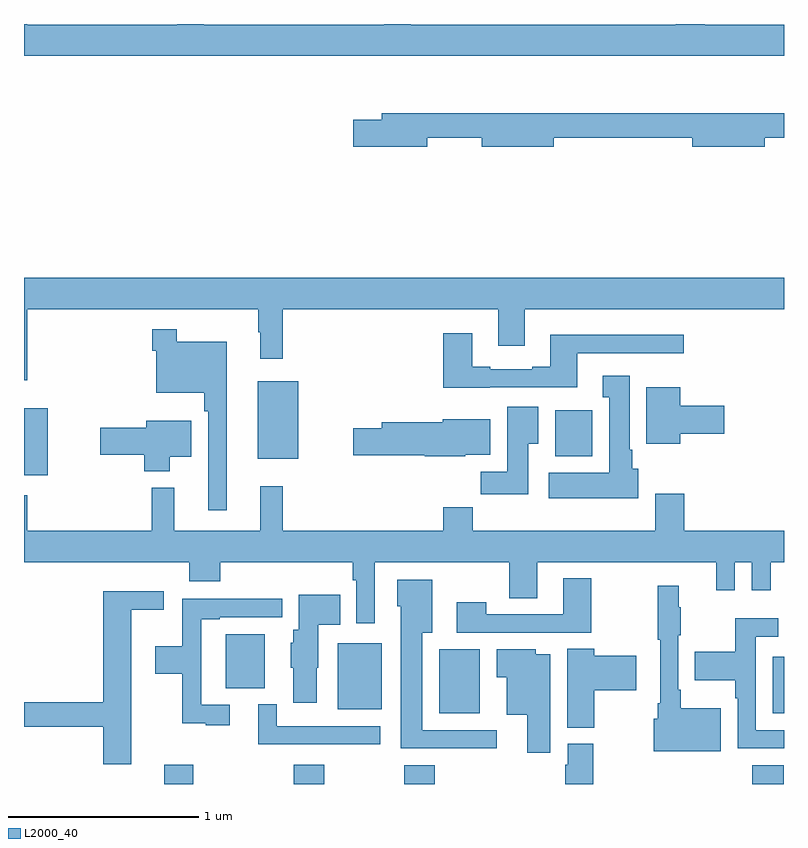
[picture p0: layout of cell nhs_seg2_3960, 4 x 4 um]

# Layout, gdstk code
import gdstk
lib = gdstk.Library(unit=1e-6, precision=1e-09)
def R(c, l, rs):  # rectangles x0, y0, x1, y1
    for r in rs: c.add(gdstk.rectangle(r[:2], r[2:], *l))
def P(c, l, *ps):  # polygons
    for p in ps: c.add(gdstk.Polygon(p, *l))
L2000_40 = (2000, 40)

nhs_seg2_3960 = lib.new_cell('nhs_seg2_3960')
R(nhs_seg2_3960, L2000_40, [(321.737,647.8,321.89,647.902), (322.421,647.8,322.581,647.902), (323.002,647.8,323.162,647.899), (324.833,647.8,324.998,647.899), (323.186,648.173,323.398,648.508), (324.941,648.173,325,648.469), (322.652,648.194,322.882,648.541), (322.061,648.305,322.267,648.589), (321,649.425,321.124,649.777), (322.229,649.511,322.444,649.921), (323.795,649.526,323.992,649.768)])
P(nhs_seg2_3960, L2000_40, [(325,651.796),(324.584,651.796),(324.584,651.8),(324.431,651.8),(324.431,651.796),(323.035,651.796),(323.035,651.8),(322.895,651.8),(322.895,651.796),(321.945,651.796),(321.945,651.8),(321.806,651.8),(321.806,651.796),(321.016,651.796),(321.016,651.8),(321,651.8),(321,651.632),(325,651.632)],
  [(323.122,651.202),(323.408,651.202),(323.408,651.155),(323.788,651.155),(323.788,651.202),(324.518,651.202),(324.518,651.155),(324.898,651.155),(324.898,651.202),(325,651.202),(325,651.331),(322.883,651.331),(322.883,651.297),(322.734,651.297),(322.734,651.155),(323.122,651.155)],
  [(321.016,650.3),(322.233,650.3),(322.233,650.177),(322.244,650.177),(322.244,650.037),(322.361,650.037),(322.361,650.3),(323.495,650.3),(323.495,650.106),(323.635,650.106),(323.635,650.3),(325,650.3),(325,650.464),(321,650.464),(321,649.926),(321.016,649.926)],
  [(322.066,650.128),(321.805,650.128),(321.805,650.194),(321.676,650.194),(321.676,650.081),(321.696,650.081),(321.696,649.859),(321.949,649.859),(321.949,649.763),(321.969,649.763),(321.969,649.242),(322.066,649.242)],
  [(323.451,649.887),(323.911,649.887),(323.911,650.067),(324.472,650.067),(324.472,650.164),(323.771,650.164),(323.771,649.996),(323.675,649.996),(323.675,649.983),(323.455,649.983),(323.455,649.996),(323.359,649.996),(323.359,650.173),(323.207,650.173),(323.207,649.886),(323.451,649.886)],
  [(324.232,649.458),(324.202,649.458),(324.202,649.558),(324.187,649.558),(324.187,649.948),(324.047,649.948),(324.047,649.835),(324.08,649.835),(324.08,649.438),(323.763,649.438),(323.763,649.304),(324.232,649.304)],
  [(324.454,649.643),(324.685,649.643),(324.685,649.79),(324.454,649.79),(324.454,649.888),(324.275,649.888),(324.275,649.592),(324.454,649.592)],
  [(323.653,649.592),(323.707,649.592),(323.707,649.786),(323.543,649.786),(323.543,649.444),(323.404,649.444),(323.404,649.326),(323.653,649.326)],
  [(323.322,649.532),(323.455,649.532),(323.455,649.72),(323.204,649.72),(323.204,649.703),(322.883,649.703),(322.883,649.673),(322.734,649.673),(322.734,649.531),(323.108,649.531),(323.108,649.526),(323.322,649.526)],
  [(321.766,649.523),(321.88,649.523),(321.88,649.711),(321.644,649.711),(321.644,649.676),(321.402,649.676),(321.402,649.534),(321.632,649.534),(321.632,649.445),(321.766,649.445)],
  [(322.845,648.968),(323.554,648.968),(323.554,648.778),(323.701,648.778),(323.701,648.968),(324.644,648.968),(324.644,648.819),(324.741,648.819),(324.741,648.968),(324.831,648.968),(324.831,648.819),(324.929,648.819),(324.929,648.968),(325,648.968),(325,649.132),(324.476,649.132),(324.476,649.327),(324.323,649.327),(324.323,649.132),(323.363,649.132),(323.363,649.256),(323.207,649.256),(323.207,649.132),(322.361,649.132),(322.361,649.366),(322.244,649.366),(322.244,649.132),(321.791,649.132),(321.791,649.36),(321.673,649.36),(321.673,649.132),(321.016,649.132),(321.016,649.321),(321,649.321),(321,648.968),(321.869,648.968),(321.869,648.866),(322.034,648.866),(322.034,648.968),(322.729,648.968),(322.729,648.872),(322.749,648.872),(322.749,648.645),(322.845,648.645)],
  [(323.985,648.883),(323.837,648.883),(323.837,648.693),(323.433,648.693),(323.433,648.757),(323.277,648.757),(323.277,648.597),(323.985,648.597)],
  [(323.488,648.084),(323.095,648.084),(323.095,648.596),(323.149,648.596),(323.149,648.874),(322.964,648.874),(322.964,648.735),(322.982,648.735),(322.982,647.987),(323.488,647.987)],
  [(324.667,648.199),(324.457,648.199),(324.457,648.295),(324.444,648.295),(324.444,648.583),(324.457,648.583),(324.457,648.731),(324.446,648.731),(324.446,648.844),(324.336,648.844),(324.336,648.559),(324.348,648.559),(324.348,648.226),(324.336,648.226),(324.336,648.143),(324.314,648.143),(324.314,647.972),(324.667,647.972)],
  [(321.565,648.716),(321.736,648.716),(321.736,648.814),(321.416,648.814),(321.416,648.23),(321,648.23),(321,648.102),(321.416,648.102),(321.416,647.904),(321.565,647.904)],
  [(322.54,648.411),(322.549,648.411),(322.549,648.638),(322.664,648.638),(322.664,648.796),(322.445,648.796),(322.445,648.612),(322.418,648.612),(322.418,648.543),(322.403,648.543),(322.403,648.411),(322.418,648.411),(322.418,648.228),(322.54,648.228)],
  [(322.084,648.216),(321.933,648.216),(321.933,648.666),(322.03,648.666),(322.03,648.678),(322.36,648.678),(322.36,648.776),(322.117,648.776),(322.117,648.774),(321.832,648.774),(321.832,648.526),(321.69,648.526),(321.69,648.379),(321.832,648.379),(321.832,648.119),(321.956,648.119),(321.956,648.108),(322.084,648.108)],
  [(325,648.084),(324.852,648.084),(324.852,648.576),(324.97,648.576),(324.97,648.673),(324.744,648.673),(324.744,648.495),(324.529,648.495),(324.529,648.347),(324.744,648.347),(324.744,648.251),(324.756,648.251),(324.756,647.988),(325,647.988)],
  [(324,648.293),(324.223,648.293),(324.223,648.476),(324,648.476),(324,648.512),(323.858,648.512),(323.858,648.097),(324,648.097)],
  [(323.77,648.484),(323.694,648.484),(323.694,648.508),(323.489,648.508),(323.489,648.362),(323.54,648.362),(323.54,648.164),(323.648,648.164),(323.648,647.964),(323.77,647.964)],
  [(322.876,648.105),(322.329,648.105),(322.329,648.22),(322.232,648.22),(322.232,648.009),(322.876,648.009)],
  [(323.997,648.012),(323.861,648.012),(323.861,647.901),(323.849,647.901),(323.849,647.8),(323.997,647.8)])

lib.write_gds('nhs_seg2_3960.gds')
